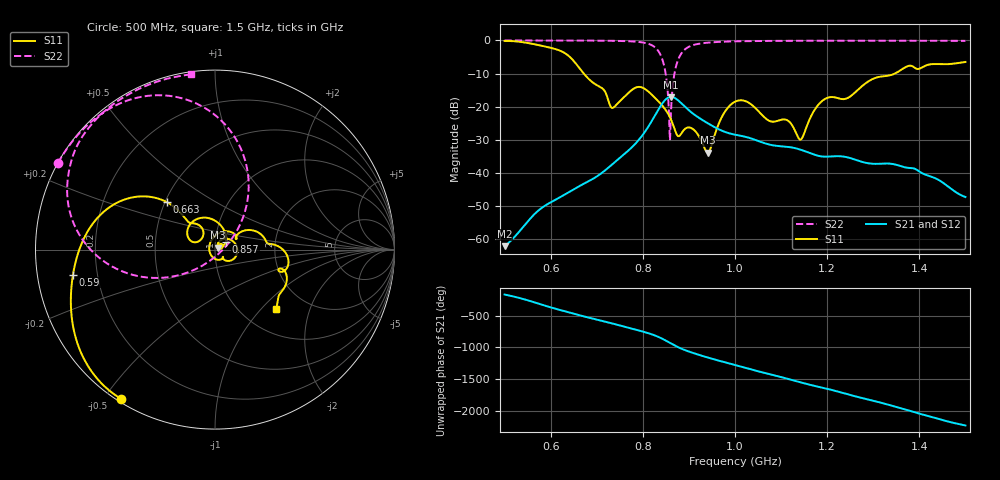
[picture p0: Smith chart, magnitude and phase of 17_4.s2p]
! TOUCHSTONE file generated by CST MICROWAVE STUDIO
! Date and time: Wed Oct 28 19:16:30 2020
! Project name: Scenario_1_Circular_Tissue_out_of_Line.cst
! Parameters = {dy1=-68.544; L_HA=400; MT=2.54; Rad_Dielectric=30; Rad_Lower=7.3; Rad_Upper=30; a_HA=580; a_WG=246; b_HA=500; b_WG=121; c_HA=0; c_WG=187; d_feed=85; dx1=693; h_feed=15; h_lower=18; h_upper=40}
! Header version: 2018
! Port assignment regex: !\s*Touchstone port\s*([0-9]+)\s*=\s*(CST MWS port|CST DS port)\s*([0-9]+|Zmin|Zmax)\s*\(\"(.*)\"\)(\s*mode\s*([0-9]+))?.*
! Touchstone port assignment:
! Touchstone port 1 = CST MWS port 1 ("")
! Touchstone port 2 = CST MWS port 2 ("")
# GHz S DB R 50
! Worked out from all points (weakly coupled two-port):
!   1001 points, 500 MHz to 1.5 GHz, reference 50 ohm
!   highest |S21| = -17.03 dB at 861 MHz (marker M1); lowest = -62.0 dB at 500 MHz (marker M2)
!   lowest |S11| = -33.8 dB at 941 MHz (marker M3), VSWR 1.04, Z = 51.7 + j1.16 ohm
!   |S11| at or under -10 dB: 671.9 MHz to 1.347 GHz (674.8 MHz wide, 66.9 % of centre)
!   |S22| runs from -30.1 to 0.0 dB; largest |S21 - S12| = 3.6e-05
!   S11 on the Smith chart (normalised r, x): 500 MHz: 0.01, -0.55; 590 MHz: 0.11, -0.09; 663 MHz: 0.51, +0.32; 857 MHz: 1.12, +0.10; 1.5 GHz: 1.43, -1.21
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0.5  -0.15 -122.3  -62.03 -167.0  -62.03 -167.0  -0.01 151.1
0.59  -1.90 -170.0  -49.62 12.0  -49.62 12.0  -0.02 144.9
0.636  -4.33 154.7  -46.01 -81.5  -46.01 -81.5  -0.03 141.2
0.663  -8.44 135.5  -43.87 -134.4  -43.87 -134.4  -0.04 138.8
0.667  -9.15 134.3  -43.58 -142.2  -43.58 -142.2  -0.04 138.4
0.734  -20.37 142.2  -37.32 96.2  -37.32 96.2  -0.12 130.3
0.79  -14.02 130.5  -30.18 -11.1  -30.18 -11.1  -0.44 117.1
0.834  -18.39 65.5  -20.80 -116.0  -20.80 -116.0  -3.27 84.2
0.847  -20.48 48.4  -18.16 -162.3  -18.16 -162.3  -8.15 61.4
0.857  -22.66 35.0  -17.12 157.4  -17.12 157.4  -23.14 20.1
0.861  -23.83 30.4  -17.03 141.1  -17.03 141.1  -21.83 -119.7
0.869  -26.77 26.9  -17.33 109.6  -17.33 109.6  -9.70 -151.4
0.881  -28.56 46.4  -18.61 67.6  -18.61 67.6  -4.50 -171.9
0.907  -26.56 24.0  -21.87 -3.7  -21.87 -3.7  -1.50 164.7
0.941  -33.85 33.5  -24.98 -80.7  -24.98 -80.7  -0.67 151.4
1  -18.48 13.9  -28.41 162.9  -28.41 162.9  -0.27 140.4
1.114  -24.10 -65.1  -32.09 -55.2  -32.09 -55.2  -0.12 128.6
1.141  -29.89 -166.6  -32.88 -109.3  -32.88 -109.3  -0.10 126.3
1.167  -22.32 89.7  -34.19 -158.2  -34.19 -158.2  -0.09 124.3
1.197  -17.51 47.0  -35.05 151.6  -35.05 151.6  -0.09 121.9
1.334  -10.59 6.6  -37.13 -107.2  -37.13 -107.2  -0.09 111.5
1.5  -6.50 -44.1  -47.20 -71.5  -47.14 -71.8  -0.13 97.9
